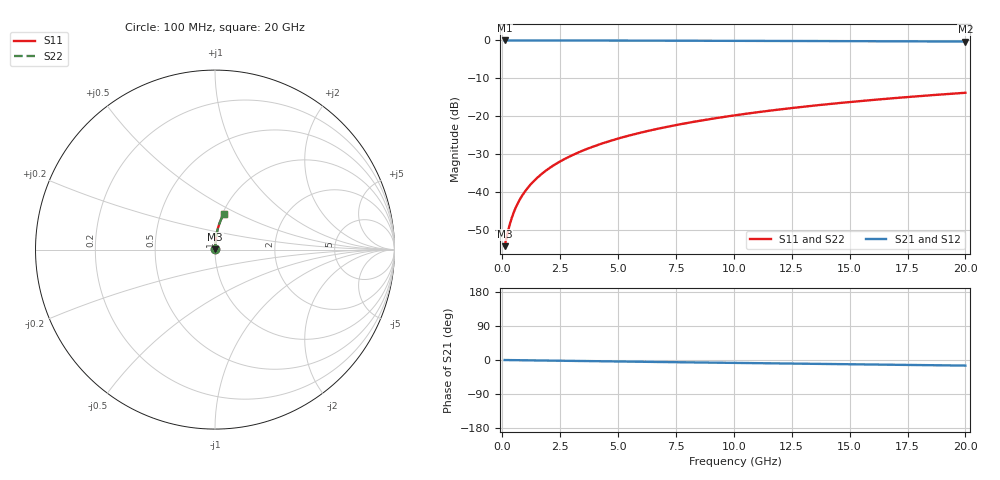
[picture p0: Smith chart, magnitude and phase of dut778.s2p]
! Touchstone file exported from HFSS 2024.1.0
!  File:  C:/UserFiles/LocalFiles/RDL_TSV_Batchsim/temp_RDL_bottom_778_1779860946.aedt
!  Generated:  01:51:56 PM May 27, 2026
!  Design:  RDL_bottom
!  Project:  temp_RDL_bottom_778_1779860946
!  Setup:  Setup1
!  Solution:  Sweep
! Variables:
!  dtsv = 10.80580581um
!  hbump = 3um
!  htsv = 95.73um
!  ldown = 132.79um
!  lrdl = 100um
!  p = 40
!  p1 = 52.46um
!  rhole = 1um
!  t = 450um
!  tdown = 2.69um
!  trdl = 3.915915916um
!  wdown = 12.68um
!  wrdl = 20um
# GHz S MA R 50.000000
! Terminal data exported
! Port[1] = RDL1_T1
! Port[2] = RDL1_T2
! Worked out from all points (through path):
!   200 points, 100 MHz to 20 GHz, reference 50 ohm
!   highest |S21| = -0.01 dB at 100 MHz (marker M1); lowest = -0.3 dB at 20 GHz (marker M2)
!   group delay of S21, straight-line fit = 2.04 ps
!   lowest |S11| = -54.3 dB at 100 MHz (marker M3), VSWR 1.00, Z = 50.2 + j0.104 ohm
!   |S11| at or under -10 dB: start of sweep to end of sweep
!   |S22| runs from -54.3 to -13.8 dB; largest |S21 - S12| = 4.5e-15
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0.1  0.001919 32.7  0.9984 -0.1  0.9984 -0.1  0.001919 32.7
! Gamma 0 0 0 0
! Port Impedance 50 0 50 0
0.2  0.002637 51.8  0.9984 -0.2  0.9984 -0.2  0.002637 51.8
0.3  0.003514 61.9  0.9983 -0.2  0.9983 -0.2  0.003514 61.9
0.4  0.004452 67.8  0.9983 -0.3  0.9983 -0.3  0.004452 67.8
0.5  0.005414 71.5  0.9983 -0.4  0.9983 -0.4  0.005414 71.5
0.6  0.006388 74.1  0.9982 -0.5  0.9982 -0.5  0.006388 74.1
0.8  0.008348 77.5  0.9981 -0.6  0.9981 -0.6  0.008348 77.5
1.1  0.01131 80.3  0.998 -0.9  0.998 -0.9  0.01131 80.3
1.5  0.01527 82.4  0.9978 -1.2  0.9978 -1.2  0.01527 82.4
1.8  0.01825 83.4  0.9977 -1.4  0.9977 -1.4  0.01825 83.4
2.1  0.02125 84.0  0.9975 -1.7  0.9975 -1.7  0.02125 84.0
2.7  0.02726 84.8  0.9971 -2.1  0.9971 -2.1  0.02726 84.8
3.5  0.03532 85.3  0.9965 -2.8  0.9965 -2.8  0.03532 85.3
4.2  0.04241 85.4  0.9958 -3.3  0.9958 -3.3  0.04241 85.4
5  0.05056 85.4  0.9949 -3.9  0.9949 -3.9  0.05056 85.4
5.9  0.05976 85.2  0.9938 -4.6  0.9938 -4.6  0.05976 85.2
6.8  0.06901 84.9  0.9925 -5.3  0.9925 -5.3  0.06901 84.9
8.3  0.08449 84.2  0.9902 -6.4  0.9902 -6.4  0.08449 84.2
10.1  0.1031 83.2  0.9871 -7.7  0.9871 -7.7  0.1031 83.2
13.4  0.1371 81.0  0.9808 -10.1  0.9808 -10.1  0.1371 81.0
16.7  0.1707 78.7  0.9737 -12.5  0.9737 -12.5  0.1707 78.7
20  0.2035 76.4  0.966 -14.7  0.966 -14.7  0.2035 76.4
